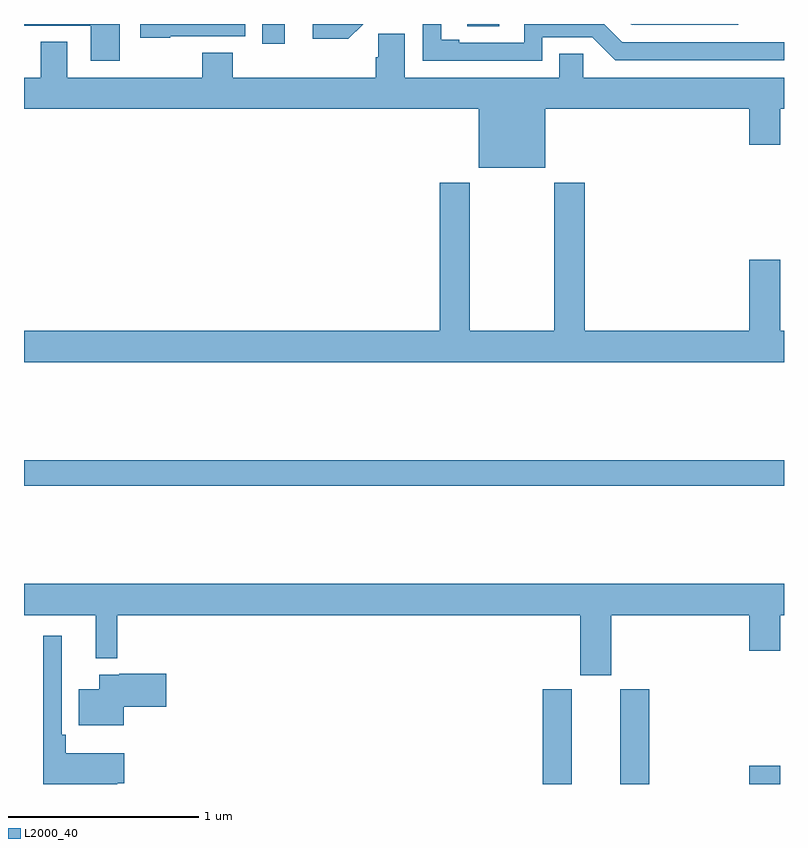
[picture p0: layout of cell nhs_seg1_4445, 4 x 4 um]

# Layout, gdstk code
import gdstk
lib = gdstk.Library(unit=1e-6, precision=1e-09)
def R(c, l, rs):  # rectangles x0, y0, x1, y1
    for r in rs: c.add(gdstk.rectangle(r[:2], r[2:], *l))
def P(c, l, *ps):  # polygons
    for p in ps: c.add(gdstk.Polygon(p, *l))
L2000_40 = (2000, 40)

nhs_seg1_4445 = lib.new_cell('nhs_seg1_4445')
R(nhs_seg1_4445, L2000_40, [(355.73,528.199,355.882,528.699), (356.138,528.199,356.291,528.699), (356.816,528.199,356.98,528.295), (353,529.768,357,529.904), (354.255,532.095,354.373,532.199), (355.332,532.186,355.502,532.199)])
P(nhs_seg1_4445, L2000_40, [(356.76,532.199),(356.194,532.199),(356.199,532.194),(356.76,532.194)],
  [(355.728,532.128),(355.992,532.128),(356.112,532.008),(357,532.008),(357,532.104),(356.148,532.104),(356.053,532.199),(355.632,532.199),(355.632,532.101),(355.291,532.101),(355.291,532.116),(355.195,532.116),(355.195,532.199),(355.098,532.199),(355.098,532.005),(355.728,532.005)],
  [(353.503,532.199),(353,532.199),(353,532.191),(353.351,532.191),(353.351,532.005),(353.503,532.005)],
  [(353.769,532.134),(354.165,532.134),(354.165,532.199),(353.613,532.199),(353.613,532.127),(353.769,532.127)],
  [(354.785,532.199),(354.519,532.199),(354.519,532.121),(354.706,532.121)],
  [(355.744,531.752),(356.816,531.752),(356.816,531.564),(356.98,531.564),(356.98,531.752),(357,531.752),(357,531.916),(355.944,531.916),(355.944,532.043),(355.817,532.043),(355.817,531.916),(355.003,531.916),(355.003,532.148),(354.864,532.148),(354.864,532.025),(354.851,532.025),(354.851,531.916),(354.098,531.916),(354.098,532.049),(353.938,532.049),(353.938,531.916),(353.227,531.916),(353.227,532.106),(353.087,532.106),(353.087,531.916),(353,531.916),(353,531.752),(355.394,531.752),(355.394,531.443),(355.744,531.443)],
  [(357,530.584),(356.98,530.584),(356.98,530.959),(356.816,530.959),(356.816,530.584),(355.952,530.584),(355.952,531.364),(355.792,531.364),(355.792,530.584),(355.347,530.584),(355.347,531.364),(355.187,531.364),(355.187,530.584),(353,530.584),(353,530.42),(357,530.42)],
  [(356.092,529.088),(356.816,529.088),(356.816,528.9),(356.98,528.9),(356.98,529.088),(357,529.088),(357,529.252),(353,529.252),(353,529.088),(353.378,529.088),(353.378,528.86),(353.49,528.86),(353.49,529.088),(355.928,529.088),(355.928,528.771),(356.092,528.771)],
  [(353.492,528.203),(353.527,528.203),(353.527,528.361),(353.219,528.361),(353.219,528.457),(353.199,528.457),(353.199,528.979),(353.102,528.979),(353.102,528.199),(353.492,528.199)],
  [(353.524,528.605),(353.749,528.605),(353.749,528.78),(353.5,528.78),(353.5,528.775),(353.396,528.775),(353.396,528.697),(353.288,528.697),(353.288,528.509),(353.524,528.509)])

lib.write_gds('nhs_seg1_4445.gds')
